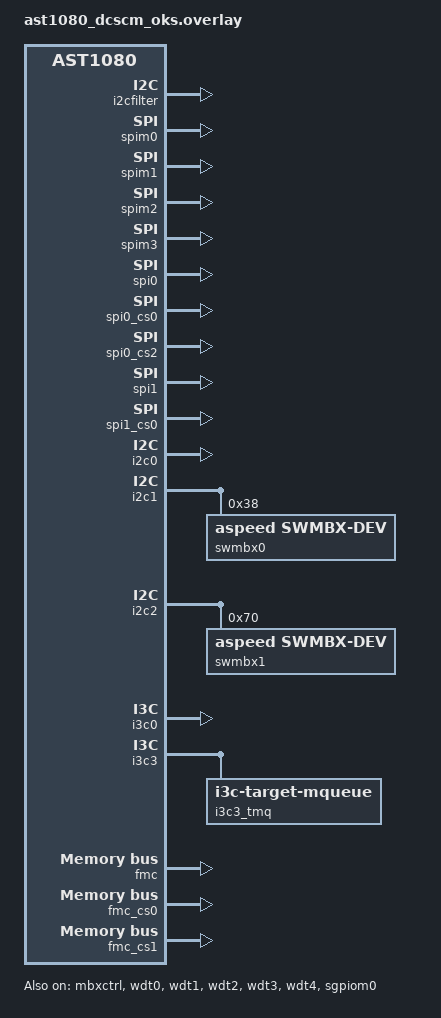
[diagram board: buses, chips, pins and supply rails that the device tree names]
/*
 * AST1080 DCSCM OKS board overlay for the aspeed-pfr application.
 *
 * AST1080 is an AST10x0-G2 (g7-generation) SoC. Only peripherals that are
 * modelled in <arm/aspeed/ast1080.dtsi> / <aspeed/ast10x0-g2.dtsi> are
 * enabled here.
 */
#include "ast1080_dcscm_gpio_common.dts"
#include "ast1080_dcscm_gpio_oks.dts"

#define AFM_VERSION 4

// &cptra_mci_mbox {
// 	status = "okay";
// };
//
// &cptra_mci_sha {
// 	status = "okay";
// };

&i2cfilter {
	status = "okay";
};

&mbxctrl {
	status = "okay";
};

&spim0 {
	status = "okay";
};

/* spim1 = spi0 CS0/CS1 (BMC), spim2 = spi0 CS2/CS3 (CPU1 PCH), spim3 = spi1
 * CS0/CS1 (CPU0 PCH). CS0/CS1 and CS2/CS3 share spi0's pins via an analog
 * mux (cs-group-analog-mux-enable below) - see commit 2fc2393be21.
 */
&spim1 {
	allow-cmds = [03 13 0b 0c 6b 6c 01 05 35 06 04 20 21 9f 5a b7 e9 32 34 d8 dc 02 12 3b 3c 70 bb bc 50 eb ec c2];
	status = "okay";
};

&spim2 {
	allow-cmds = [03 13 0b 0c 6b 6c 01 05 35 06 04 20 21 9f 5a b7 e9 32 34 d8 dc 02 12 3b 3c 70 bb bc 50 eb ec c2];
	status = "okay";
};

&spim3 {
	allow-cmds = [03 13 0b 0c 6b 6c 01 05 35 06 04 20 21 9f 5a b7 e9 32 34 d8 dc 02 12 3b 3c 70 bb bc 50 eb ec c2];
	status = "okay";
};

&spi0 {
	status = "okay";
	cs-group-analog-mux-enable;
	/* Pins shared with SPI monitor (spim1/spim2). DCSCM does not use spif0_cs1/spif1_cs1. */
	pinctrl-0 = <
		pinctrl_spif0_default
		pinctrl_spif1_default
	>;
};

&spi0_cs0 {
	spi-monitor-ctrl = <&spim1>;
	status = "okay";
};

&spi0_cs2 {
	spi-monitor-ctrl = <&spim2>;
	status = "okay";
};

&spi1 {
	status = "okay";
	/* Pins shared with SPI monitor (spim3). DCSCM does not use spif2_cs1. */
	pinctrl-0 = <
		pinctrl_spif2_default
	>;
};

&spi1_cs0 {
	spi-monitor-ctrl = <&spim3>;
	status = "okay";
};

&i2c0 {
	status = "okay";
};

&i2c1 {
	status = "okay";

	swmbx0: swmbx0@38 {
		compatible = "aspeed,swmbx-dev";
		reg = <0x38>;
		size = <256>;
		port = <0>;
		status = "okay";
	};
};

&i2c2 {
	status = "okay";

	swmbx1: swmbx1@70 {
		compatible = "aspeed,swmbx-dev";
		reg = <0x70>;
		size = <256>;
		port = <1>;
		status = "okay";
	};
};

&i3c0 {
	status = "okay";
};

/* MCTP over I3C target mode, paired with CONFIG_I3C_TARGET and
 * CONFIG_I3C_TARGET_MQUEUE in ast1080_dcscm_oks.conf. i3c_util.h checks this
 * node with DT_NODE_EXISTS(), which calls device_get_binding() on it - if the
 * TMQ driver isn't built (Kconfig off) that NULL-derefs before the UART
 * starts, so keep this node and the two Kconfig options in sync.
 */
&i3c3 {
	status = "okay";
	dcr = <0xcc>;
	secondary;

	i3c3_tmq: i3c-tmq@7eca0033000 {
		compatible = "i3c-target-mqueue";
		reg = <0x0 0x7ec 0xa0033000>;
		msg-size = <128>;
		num-of-msgs = <8>;
		mandatory-data-byte = <0xae>;
		ibi-append-pec = <0>;
		status = "okay";
	};
};

&wdt0 {
	status = "okay";
};

&wdt1 {
	status = "okay";
};

&wdt2 {
	status = "okay";
};

&wdt3 {
	status = "okay";
};

&wdt4 {
	status = "okay";
};

&fmc {
	status = "okay";
};

&fmc_cs0 {
	status = "okay";

	partitions {
		compatible = "fixed-partitions";
		#address-cells = <1>;
		#size-cells = <1>;

		active_partition: partition@0 {
			label = "active";
			reg = <0x0 0x3C0000>;
		};

		state_partition: partition@3c0000 {
			label = "state";
			reg = <0x3C0000 0x10000>;
		};

		intel_state_partition: partition@3d0000 {
			label = "intel_state";
			reg = <0x3D0000 0x10000>;
		};

		key_partition: partition@3e0000 {
			label = "key";
			reg = <0x3E0000 0x10000>;
		};

		afm_act_1_partition: partition@3f0000 {
			label = "afm_act_1";
			reg = <0x3F0000 0x10000>;
		};
	};
};

&fmc_cs1 {
	status = "okay";

	partitions {
		compatible = "fixed-partitions";
		#address-cells = <1>;
		#size-cells = <1>;
#if (AFM_VERSION == 4)
		/* Reserved for Intel-PFR 4.0 */
		afm_act1_partition: partition@0 {
			label = "afm_active_1";
			reg = <0x0 0x20000>;
		};

		afm_act2_partition: partition@20000 {
			label = "afm_active_2";
			reg = <0x20000 0x20000>;
		};

		afm_rcv1_partition: partition@40000 {
			label = "afm_recovery_1";
			reg = <0x40000 0x20000>;
		};

		afm_rcv2_partition: partition@60000 {
			label = "afm_recovery_2";
			reg = <0x60000 0x20000>;
		};

		intel_cpld_act_partition: partition@80000 {
			label = "intel_cpld_act";
			reg = <0x80000 0x1C0000>;
		};
		intel_cpld_rc_partition: partition@240000 {
			label = "intel_cpld_rc";
			reg = <0x240000 0x1C0000>;
		};
#elif (AFM_VERSION == 3)
		intel_cpld_act_partition: partition@0 {
			label = "intel_cpld_act";
			reg = <0x000000 0x200000>;
		};
		intel_cpld_rc_partition: partition@200000 {
			label = "intel_cpld_rc";
			reg = <0x200000 0x200000>;
		};
#endif
	};
};

&sgpiom0 {
	status = "okay";
	ngpios = <72>;
	aspeed,bus-freq = <1000000>;

	sgpiom0_0_31 {
		status = "okay";
	};

	sgpiom0_32_63 {
		status = "okay";
	};

	sgpiom0_64_95 {
		status = "okay";
	};
};

/* sgpiom1 unused on this board; its child nodes already default to
 * status "disabled" in ast10x0-g2.dtsi.
 */
&sgpiom1 {
	status = "disabled";

	sgpiom1_0_31 {
		status = "disabled";
	};

	sgpiom1_32_63 {
		status = "disabled";
	};

	sgpiom1_64_95 {
		status = "disabled";
	};

	sgpiom1_96_127 {
		status = "disabled";
	};

	sgpiom1_128_159 {
		status = "disabled";
	};

	sgpiom1_160_191 {
		status = "disabled";
	};

	sgpiom1_192_223 {
		status = "disabled";
	};

	sgpiom1_224_255 {
		status = "disabled";
	};
};

&gpio0 {
	status = "okay";
};

/* Flash role aliases: resolved by lib/hrot_hal/flash/flash_aspeed.c
 * to build the BMC_SPI/PCH_SPI device name at compile time.
 */
/ {
	aliases {
		bmc-spi0 = &spi0_cs0;
		bmc-spi1 = &spi0_cs1;
		pch-spi0 = &spi1_cs0;
		pch-spi1 = &spi1_cs1;
		bmc-mctp-i2c = &swmbx0;
		pch-mctp-i2c = &swmbx1;
	};
};
